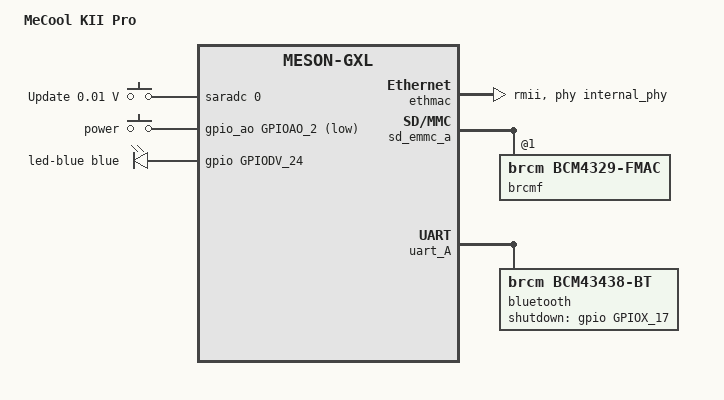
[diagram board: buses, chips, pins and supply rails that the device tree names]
// SPDX-License-Identifier: (GPL-2.0+ OR MIT)

/*
 * Author: Christian Hewitt <christianshewitt@gmail.com>
 */

/dts-v1/;

#include "meson-gxl-s905d.dtsi"
#include "meson-gx-p23x-q20x.dtsi"
#include <dt-bindings/input/input.h>
#include <dt-bindings/leds/common.h>

/ {
	compatible = "videostrong,gxl-kii-pro", "amlogic,s905d", "amlogic,meson-gxl";
	model = "MeCool KII Pro";

	adc-keys {
		compatible = "adc-keys";
		io-channels = <&saradc 0>;
		io-channel-names = "buttons";
		keyup-threshold-microvolt = <1710000>;

		button-function {
			label = "Update";
			linux,code = <KEY_VENDOR>;
			press-threshold-microvolt = <10000>;
		};
	};

	gpio-keys-polled {
		compatible = "gpio-keys-polled";
		poll-interval = <100>;

		button {
			label = "power";
			linux,code = <KEY_POWER>;
			gpios = <&gpio_ao GPIOAO_2 GPIO_ACTIVE_LOW>;
		};
	};

	leds {
		compatible = "gpio-leds";

		led-blue {
			color = <LED_COLOR_ID_BLUE>;
			function = LED_FUNCTION_POWER;
			gpios = <&gpio GPIODV_24 GPIO_ACTIVE_HIGH>;
			default-state = "on";
			panic-indicator;
		};
	};
};

&ethmac {
	phy-mode = "rmii";
	phy-handle = <&internal_phy>;
};

&ir {
	linux,rc-map-name = "rc-mecool-kii-pro";
};

&sd_emmc_a {
	brcmf: wifi@1 {
		reg = <1>;
		compatible = "brcm,bcm4329-fmac";
	};
};

&uart_A {
	status = "okay";
	pinctrl-0 = <&uart_a_pins>, <&uart_a_cts_rts_pins>;
	pinctrl-names = "default";
	uart-has-rtscts;

	bluetooth {
		compatible = "brcm,bcm43438-bt";
		shutdown-gpios = <&gpio GPIOX_17 GPIO_ACTIVE_HIGH>;
		max-speed = <2000000>;
		clocks = <&wifi32k>;
		clock-names = "lpo";
	};
};
